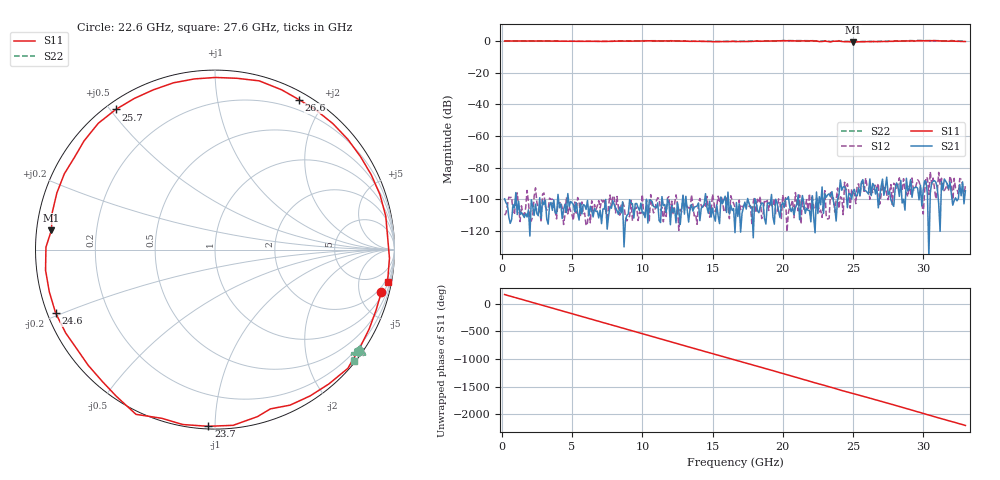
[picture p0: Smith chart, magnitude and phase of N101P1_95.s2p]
# GHZ S RI R 50
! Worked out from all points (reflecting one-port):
!   329 points, 200 MHz to 33 GHz, reference 50 ohm
!   lowest |S11| = -0.7 dB at 25 GHz (marker M1), VSWR 23.33, Z = 2.15 + j2.95 ohm
!   phase of S11 starts at 166 deg and turns -2370 deg over the sweep
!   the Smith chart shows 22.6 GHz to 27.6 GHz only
!   S11 on the Smith chart (normalised r, x): 22.6 GHz: 1.37, -7.68; 23.7 GHz: 0.01, -0.96; 24.6 GHz: 0.02, -0.19; 25.7 GHz: 0.03, +0.52; 26.6 GHz: 0.08, +1.70; 27.6 GHz: 1, -11
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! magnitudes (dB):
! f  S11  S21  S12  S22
! 200 MHz  0.0  -99.7  -110.1  0.0
! 5.7 GHz  -0.2  -109.3  -101.7  -0.2
! 11.2 GHz  0.1  -113.4  -99.6  0.2
! 15 GHz  -0.4  -105.6  -96.8  -0.2
! 16.6 GHz  -0.3  -121.1  -105.2  -0.2
! 20.4 GHz  0.3  -98.3  -108.5  0.3
! 22.1 GHz  0.1  -97.9  -97.3  0.2
! 22.6 GHz  -0.4  -98.4  -108.0  -0.1
! 23 GHz  -0.1  -96.5  -94.6  0.1
! 23.4 GHz  -0.5  -98.4  -95.8  -0.4
! 23.7 GHz  -0.1  -104.5  -108.1  -0.1
! 24 GHz  0.2  -97.2  -105.9  0.2
! 24.2 GHz  -0.3  -94.3  -99.2  -0.2
! 24.6 GHz  -0.4  -105.3  -90.2  -0.3
! 25 GHz  -0.7  -94.9  -95.8  -0.4
! 25.7 GHz  -0.4  -87.6  -89.1  -0.4
! 26.6 GHz  -0.4  -96.7  -90.8  -0.4
! 27.6 GHz  -0.2  -95.2  -94.9  -0.1
! 30.8 GHz  0.3  -88.2  -93.2  0.2
! 31.4 GHz  0.0  -94.1  -94.5  -0.1
! 32 GHz  0.0  -96.3  -88.1  0.3
! 33 GHz  -0.3  -94.6  -91.4  -0.2
